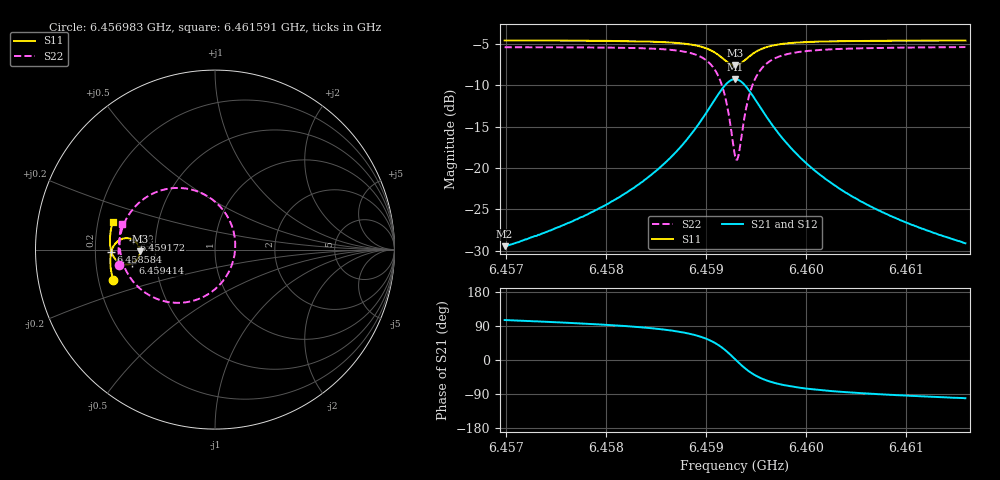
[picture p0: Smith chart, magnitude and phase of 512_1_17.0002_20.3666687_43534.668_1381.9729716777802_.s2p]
#  HZ  S  RI  R  50.00
! Rohde & Schwarz Vector Network Analyzer
! Rohde-Schwarz,ZNB20-2Port,1311601062101988,3.16
! Created: UTC 3/20/2024, 11:15:02 PM
! freq[Hz]  re:S11  im:S11  re:S21  im:S21  re:S12  im:S12  re:S22  im:S22
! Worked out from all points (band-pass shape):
!   401 points, 6.456983 GHz to 6.461591 GHz, reference 50 ohm
!   highest |S21| = -9.23 dB at 6.459287 GHz (marker M1); lowest = -29.4 dB at 6.456983 GHz (marker M2)
!   |S21| within 3 dB of the highest: 6.459057 GHz to 6.459518 GHz (460.3 kHz wide, 0.00713 % of centre)
!   lowest |S11| = -7.6 dB at 6.459287 GHz (marker M3), VSWR 2.44, Z = 20.5 - j0.471 ohm
!   |S11| at or under -10 dB: nowhere
!   |S22| runs from -19.0 to -5.3 dB; largest |S21 - S12| = 0.014
!   S11 on the Smith chart (normalised r, x): 6.456983 GHz: 0.26, -0.14; 6.458584 GHz: 0.27, -0.01; 6.459172 GHz: 0.37, +0.05; 6.459414 GHz: 0.37, -0.07; 6.461591 GHz: 0.26, +0.12
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6.4569832e9  -0.5668 -0.1717  -0.00899 0.0325  -0.00714 0.0323  -0.5321 -0.0844
6.457755e9  -0.5808 -0.1042  -0.00555 0.0503  -0.00302 0.0498  -0.5375 0.00579
6.4581812e9  -0.5837 -0.0616  0.000334 0.0698  0.00362 0.0684  -0.5292 0.0733
6.4585268e9  -0.5798 -0.0203  0.0141 0.0986  0.0181 0.0958  -0.5039 0.151
6.4585844e9  -0.5781 -0.0124  0.0185 0.1054  0.0226 0.1023  -0.4959 0.1675
6.4587917e9  -0.565 0.0196  0.046 0.1378  0.0501 0.1328  -0.4443 0.2402
6.4589415e9  -0.5424 0.0459  0.0911 0.1683  0.0945 0.1616  -0.3611 0.3047
6.4590797e9  -0.4988 0.0635  0.1782 0.1848  0.179 0.1775  -0.202 0.3435
6.4591719e9  -0.4543 0.0534  0.2681 0.1538  0.2682 0.1478  -0.0354 0.2935
6.459241e9  -0.4252 0.0214  0.3285 0.082  0.3307 0.0767  0.0802 0.1643
6.459287e9  -0.4182 -0.00947  0.3451 0.0141  0.3486 0.00724  0.1127 0.0374
6.4592986e9  -0.4187 -0.0176  0.3449 -0.00372  0.3487 -0.0111  0.1124 0.00381
6.4593216e9  -0.4221 -0.0332  0.3393 -0.0383  0.3432 -0.0473  0.1012 -0.062
6.4593677e9  -0.4377 -0.0592  0.3108 -0.0983  0.3131 -0.1101  0.0438 -0.1756
6.4594138e9  -0.4598 -0.0756  0.2687 -0.1392  0.2679 -0.1527  -0.0413 -0.2504
6.4595059e9  -0.5032 -0.0823  0.1838 -0.1704  0.1777 -0.182  -0.2104 -0.2966
6.4596557e9  -0.547 -0.0619  0.096 -0.1565  0.0874 -0.1627  -0.3781 -0.2471
6.4598169e9  -0.5683 -0.0341  0.0511 -0.1287  0.0435 -0.1313  -0.4586 -0.1749
6.4600588e9  -0.581 0.00144  0.0223 -0.0972  0.0163 -0.0978  -0.5066 -0.0924
6.4603929e9  -0.5855 0.0413  0.00651 -0.0708  0.00243 -0.0705  -0.5275 -0.0153
6.4608306e9  -0.5835 0.0854  -0.00154 -0.0517  -0.00434 -0.0509  -0.532 0.0549
6.4615909e9  -0.5711 0.1526  -0.00661 -0.0345  -0.00829 -0.0336  -0.5204 0.1446
